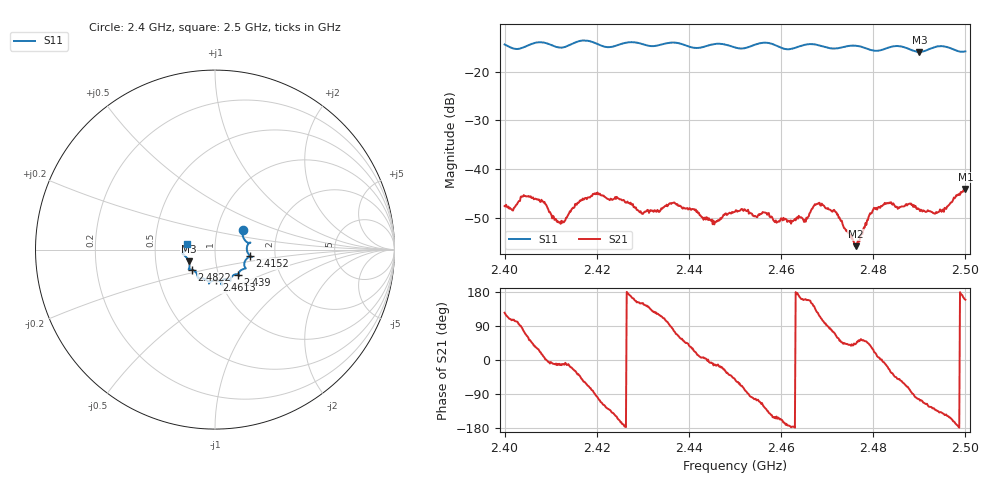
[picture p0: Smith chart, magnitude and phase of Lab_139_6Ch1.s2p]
# Hz S RI R 50
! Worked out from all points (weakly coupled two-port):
!   601 points, 2.4 GHz to 2.5 GHz, reference 50 ohm
!   highest |S21| = -44.14 dB at 2.5 GHz (marker M1); lowest = -55.9 dB at 2.4762 GHz (marker M2)
!   lowest |S11| = -15.9 dB at 2.49 GHz (marker M3), VSWR 1.38, Z = 36.9 - j4.87 ohm
!   |S11| at or under -10 dB: start of sweep to end of sweep
!   S12 and S22 are empty: the file has one direction only
!   S11 on the Smith chart (normalised r, x): 2.4 GHz: 1.33, +0.30; 2.4152 GHz: 1.48, -0.11; 2.439 GHz: 1.24, -0.36; 2.4613 GHz: 0.96, -0.34; 2.4822 GHz: 0.76, -0.17; 2.5 GHz: 0.72, +0.05
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2.4e9  0.1556 0.1101  -0.00237 0.00342  0 0  0 0
2.405667e9  0.188 0.037  0.00339 0.00397  0 0  0 0
2.412167e9  0.1769 0.00416  0.00267 -0.000541  0 0  0 0
2.415167e9  0.195 -0.036  0.00356 -0.00191  0 0  0 0
2.416667e9  0.2047 -0.0419  0.00314 -0.00367  0 0  0 0
2.420167e9  0.188 -0.0426  -0.00084 -0.00566  0 0  0 0
2.433333e9  0.1323 -0.1324  -0.00194 0.00317  0 0  0 0
2.436333e9  0.1349 -0.1473  0.000455 0.00443  0 0  0 0
2.439e9  0.1281 -0.1387  0.00262 0.00293  0 0  0 0
2.445667e9  0.085 -0.1733  0.00279 -0.000595  0 0  0 0
2.45e9  0.0685 -0.1641  0.00227 -0.00282  0 0  0 0
2.461333e9  0.00694 -0.1701  -0.00283 -0.000391  0 0  0 0
2.465333e9  -0.0332 -0.1871  -0.0027 0.000957  0 0  0 0
2.466667e9  -0.0336 -0.1894  -0.00333 0.002  0 0  0 0
2.471833e9  -0.0636 -0.1615  0.00145 0.0033  0 0  0 0
2.476167e9  -0.094 -0.1597  0.0012 0.00107  0 0  0 0
2.479667e9  -0.1039 -0.1303  0.00294 0.00191  0 0  0 0
2.482167e9  -0.1275 -0.1118  0.00426 -0.00041  0 0  0 0
2.483333e9  -0.1387 -0.1104  0.00408 -0.00177  0 0  0 0
2.49e9  -0.1466 -0.0642  -0.000922 -0.00374  0 0  0 0
2.495333e9  -0.1812 -0.0207  -0.00287 -0.00221  0 0  0 0
2.5e9  -0.1586 0.0335  -0.00581 0.0022  0 0  0 0
